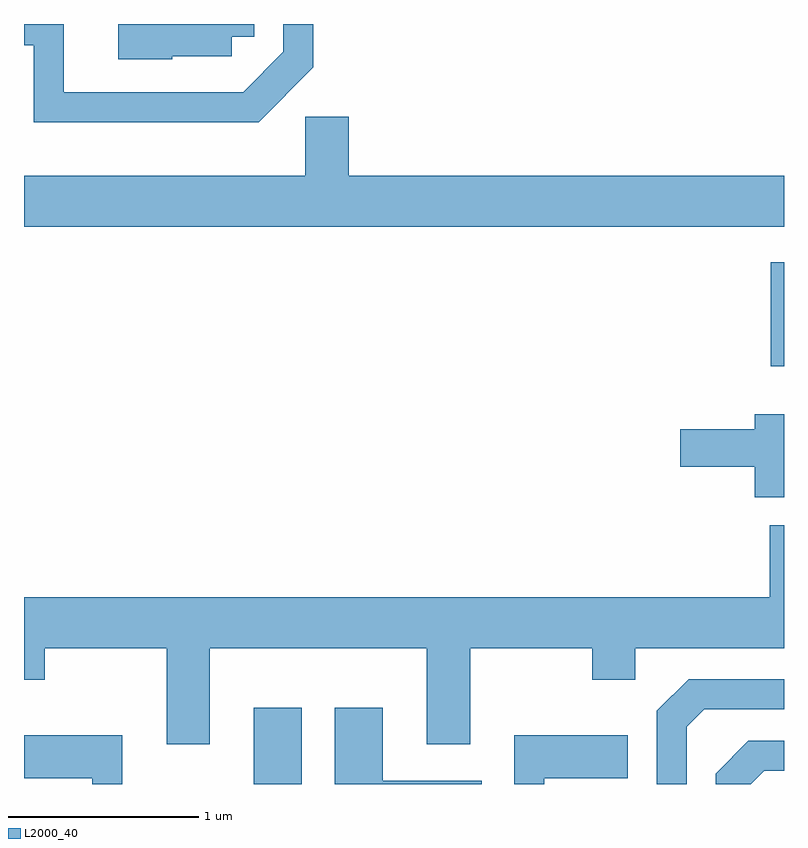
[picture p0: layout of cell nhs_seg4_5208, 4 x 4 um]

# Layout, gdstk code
import gdstk
lib = gdstk.Library(unit=1e-6, precision=1e-09)
def R(c, l, rs):  # rectangles x0, y0, x1, y1
    for r in rs: c.add(gdstk.rectangle(r[:2], r[2:], *l))
def P(c, l, *ps):  # polygons
    for p in ps: c.add(gdstk.Polygon(p, *l))
L2000_40 = (2000, 40)

nhs_seg4_5208 = lib.new_cell('nhs_seg4_5208')
R(nhs_seg4_5208, L2000_40, [(338.821,1333.982,339.074,1334.384), (341.541,1336.181,341.611,1336.728)])
P(nhs_seg4_5208, L2000_40, [(339.134,1337.754),(339.134,1337.982),(338.976,1337.982),(338.976,1337.837),(338.764,1337.624),(337.819,1337.624),(337.819,1337.982),(337.611,1337.982),(337.611,1337.871),(337.661,1337.871),(337.661,1337.466),(338.847,1337.466)],
  [(338.39,1337.811),(338.704,1337.811),(338.704,1337.916),(338.824,1337.916),(338.824,1337.982),(338.106,1337.982),(338.106,1337.796),(338.39,1337.796)],
  [(341.611,1337.184),(339.319,1337.184),(339.319,1337.494),(339.091,1337.494),(339.091,1337.184),(337.611,1337.184),(337.611,1336.916),(341.611,1336.916)],
  [(341.611,1335.929),(341.456,1335.929),(341.456,1335.849),(341.066,1335.849),(341.066,1335.651),(341.456,1335.651),(341.456,1335.491),(341.611,1335.491)],
  [(338.589,1334.696),(339.731,1334.696),(339.731,1334.191),(339.959,1334.191),(339.959,1334.696),(340.601,1334.696),(340.601,1334.531),(340.829,1334.531),(340.829,1334.696),(341.611,1334.696),(341.611,1335.343),(341.536,1335.343),(341.536,1334.964),(337.611,1334.964),(337.611,1334.531),(337.719,1334.531),(337.719,1334.696),(338.361,1334.696),(338.361,1334.191),(338.589,1334.191)],
  [(341.099,1334.284),(341.192,1334.376),(341.611,1334.376),(341.611,1334.534),(341.109,1334.534),(340.941,1334.367),(340.941,1333.982),(341.099,1333.982)],
  [(340.019,1333.999),(339.499,1333.999),(339.499,1334.384),(339.246,1334.384),(339.246,1333.982),(340.019,1333.982)],
  [(340.349,1334.011),(340.789,1334.011),(340.789,1334.239),(340.191,1334.239),(340.191,1333.982),(340.349,1333.982)],
  [(338.129,1334.239),(337.611,1334.239),(337.611,1334.011),(337.971,1334.011),(337.971,1333.982),(338.129,1333.982)],
  [(341.507,1334.051),(341.611,1334.051),(341.611,1334.209),(341.424,1334.209),(341.251,1334.037),(341.251,1333.982),(341.437,1333.982)])

lib.write_gds('nhs_seg4_5208.gds')
